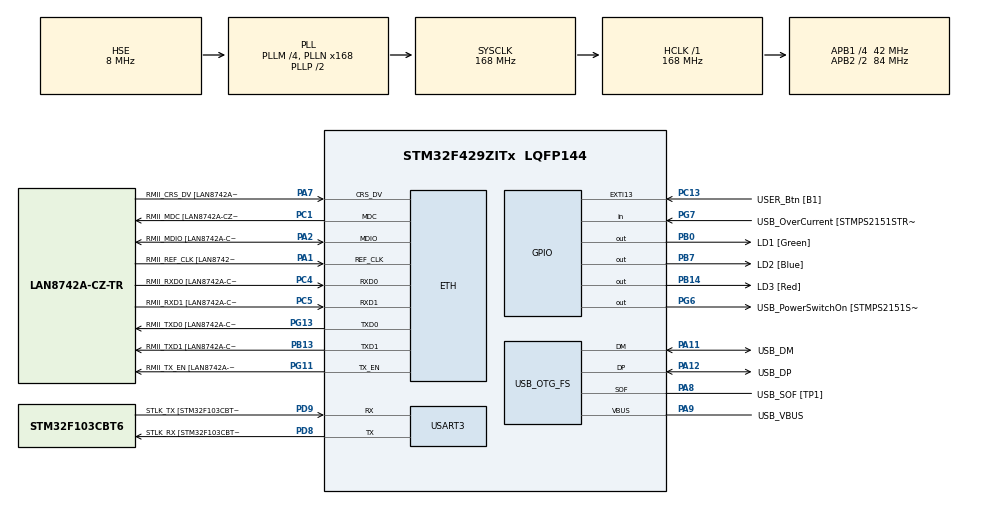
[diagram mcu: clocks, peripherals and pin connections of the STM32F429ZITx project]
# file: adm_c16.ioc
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ETH.MediaInterface=HAL_ETH_RMII_MODE
ETH.PHY_Name=LAN8742A_PHY_ADDRESS
ETH.PHY_Value=0
ETH.PhyAddress=0
Mcu.Family=STM32F4
Mcu.Name=STM32F429ZITx
Mcu.Package=LQFP144
NVIC.PriorityGroup=NVIC_PRIORITYGROUP_4
PA1.GPIO_Label=RMII_REF_CLK [LAN8742A-CZ-TR_REFCLK0]
PA1.Mode=RMII
PA1.Signal=ETH_REF_CLK
PA10.GPIO_Label=USB_ID
PA10.Signal=USB_OTG_FS_ID
PA11.GPIO_Label=USB_DM
PA11.Mode=Device_Only
PA11.Signal=USB_OTG_FS_DM
PA12.GPIO_Label=USB_DP
PA12.Mode=Device_Only
PA12.Signal=USB_OTG_FS_DP
PA13.GPIO_Label=TMS
PA13.Mode=Serial_Wire
PA13.Signal=SYS_JTMS-SWDIO
PA14.GPIO_Label=TCK
PA14.Mode=Serial_Wire
PA14.Signal=SYS_JTCK-SWCLK
PA2.GPIO_Label=RMII_MDIO [LAN8742A-CZ-TR_MDIO]
PA2.Mode=RMII
PA2.Signal=ETH_MDIO
PA7.GPIO_Label=RMII_CRS_DV [LAN8742A-CZ-TR_CRS_DV]
PA7.Mode=RMII
PA7.Signal=ETH_CRS_DV
PA8.GPIO_Label=USB_SOF [TP1]
PA8.Mode=Activate_SOF_FS
PA8.Signal=USB_OTG_FS_SOF
PA9.GPIO_Label=USB_VBUS
PA9.Mode=Activate_VBUS
PA9.Signal=USB_OTG_FS_VBUS
PB0.GPIO_Label=LD1 [Green]
PB0.PinState=GPIO_PIN_RESET
PB0.Signal=GPIO_Output
PB13.GPIO_Label=RMII_TXD1 [LAN8742A-CZ-TR_TXD1]
PB13.Mode=RMII
PB13.Signal=ETH_TXD1
PB14.GPIO_Label=LD3 [Red]
PB14.Signal=GPIO_Output
PB7.GPIO_Label=LD2 [Blue]
PB7.Signal=GPIO_Output
PC1.GPIO_Label=RMII_MDC [LAN8742A-CZ-TR_MDC]
PC1.Mode=RMII
PC1.Signal=ETH_MDC
PC13.GPIO_Label=USER_Btn [B1]
PC13.Signal=GPXTI13
PC14/OSC32_IN.Mode=LSE-External-Oscillator
PC14/OSC32_IN.Signal=RCC_OSC32_IN
PC15/OSC32_OUT.Mode=LSE-External-Oscillator
PC15/OSC32_OUT.Signal=RCC_OSC32_OUT
PC4.GPIO_Label=RMII_RXD0 [LAN8742A-CZ-TR_RXD0]
PC4.Mode=RMII
PC4.Signal=ETH_RXD0
PC5.GPIO_Label=RMII_RXD1 [LAN8742A-CZ-TR_RXD1]
PC5.Mode=RMII
PC5.Signal=ETH_RXD1
PD8.GPIO_Label=STLK_RX [STM32F103CBT6_PA3]
PD8.Mode=Asynchronous
PD8.Signal=USART3_TX
PD9.GPIO_Label=STLK_TX [STM32F103CBT6_PA2]
PD9.Mode=Asynchronous
PD9.Signal=USART3_RX
PG11.GPIO_Label=RMII_TX_EN [LAN8742A-CZ-TR_TXEN]
PG11.Mode=RMII
PG11.Signal=ETH_TX_EN
PG13.GPIO_Label=RMII_TXD0 [LAN8742A-CZ-TR_TXD0]
PG13.Mode=RMII
PG13.Signal=ETH_TXD0
PG6.GPIO_Label=USB_PowerSwitchOn [STMPS2151STR_EN]
PG6.Signal=GPIO_Output
PG7.GPIO_Label=USB_OverCurrent [STMPS2151STR_FAULT]
PG7.Signal=GPIO_Input
PH0/OSC_IN.GPIO_Label=MCO [STM32F103CBT6_PA8]
PH0/OSC_IN.Mode=HSE-External-Clock-Source
PH0/OSC_IN.Signal=RCC_OSC_IN
PH1/OSC_OUT.Mode=HSE-External-Clock-Source
PH1/OSC_OUT.Signal=RCC_OSC_OUT
ProjectManager.HeapSize=0x200
ProjectManager.StackSize=0x400
ProjectManager.TargetToolchain=STM32CubeIDE
RCC.48MHZClocksFreq_Value=48000000
RCC.AHBFreq_Value=168000000
RCC.APB1CLKDivider=RCC_HCLK_DIV4
RCC.APB1Freq_Value=42000000
RCC.APB1TimFreq_Value=84000000
RCC.APB2CLKDivider=RCC_HCLK_DIV2
RCC.APB2Freq_Value=84000000
RCC.APB2TimCLKDivider=2
RCC.APB2TimFreq_Value=168000000
RCC.CortexFreq_Value=168000000
RCC.HCLKFreq_Value=168000000
RCC.HSE_VALUE=8000000
RCC.HSI_VALUE=16000000
RCC.PLLM=4
RCC.PLLMUL=RCC_PLL_MUL9
RCC.PLLN=168
RCC.PLLQ=7
RCC.PRESCALERUSB=RCC_USBCLKSOURCE_PLL_DIV1_5
RCC.SYSCLKFreq_VALUE=168000000
RCC.SYSCLKSource=RCC_SYSCLKSOURCE_PLLCLK
RCC.SYSCLKSourceVirtual=RCC_SYSCLKSOURCE_PLLCLK
RCC.USBFreq_Value=48000000
RCC.VCOOutputFreq_Value=336000000
USART3.VirtualMode=VM_ASYNC
USB_OTG_FS.VirtualMode=Device_Only
board=NUCLEO-F429ZI

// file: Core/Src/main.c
/* USER CODE BEGIN Header */
/**
  ******************************************************************************
  * @file           : main.c
  * @brief          : Main program body
  ******************************************************************************
  * @attention
  *
  * Copyright (c) 2022 STMicroelectronics.
  * All rights reserved.
  *
  * This software is licensed under terms that can be found in the LICENSE file
  * in the root directory of this software component.
  * If no LICENSE file comes with this software, it is provided AS-IS.
  *
  ******************************************************************************
  */
/* USER CODE END Header */
#include "main.h"
#include "string.h"

/* USER CODE BEGIN Includes */
#include "asm_func.h"
#include "stdint.h"
/* USER CODE END Includes */

/* USER CODE BEGIN PD */
#define LIM_12BITS 4095
#define WINDOW_SIZE 11
#define HALF_WINDOW 5
#define MASK_16_MSB_BITS 0xFFFF0000

#define ECO_VECTOR_LENGTH 4096
#define ECO_SAMPLE_DELAY 882

/* USER CODE END PD */

ETH_TxPacketConfig TxConfig;
ETH_DMADescTypeDef  DMARxDscrTab[ETH_RX_DESC_CNT]; /* Ethernet Rx DMA Descriptors */
ETH_DMADescTypeDef  DMATxDscrTab[ETH_TX_DESC_CNT]; /* Ethernet Tx DMA Descriptors */

ETH_HandleTypeDef heth;

UART_HandleTypeDef huart3;

PCD_HandleTypeDef hpcd_USB_OTG_FS;

void SystemClock_Config(void);
static void MX_GPIO_Init(void);
static void MX_ETH_Init(void);
static void MX_USART3_UART_Init(void);
static void MX_USB_OTG_FS_PCD_Init(void);
/* USER CODE BEGIN PFP */

void zeros (uint32_t* vector, uint32_t longitud);
void productoEscalar32 (uint32_t * vectorIn, uint32_t * vectorOut, uint32_t longitud, uint32_t escalar);
void productoEscalar16 (uint16_t * vectorIn, uint16_t * vectorOut, uint32_t longitud, uint16_t escalar);
void productoEscalar12 (uint16_t * vectorIn, uint16_t * vectorOut, uint32_t longitud, uint16_t escalar);
void filtroVentana10(uint16_t * vectorIn, uint16_t * vectorOut, uint32_t longitudVectorIn);
void pack32to16 (int32_t * vectorIn, int16_t *vectorOut, uint32_t longitud);
int32_t max (int32_t * vectorIn, uint32_t longitud);
void downsampleM (int32_t * vectorIn, int32_t * vectorOut, uint32_t longitud, uint32_t N);
void invertir (uint16_t * vector, uint32_t longitud);
void addEcoVector(int16_t* vector,uint16_t longitud, uint16_t sampleDelay);
void corr (int16_t *vectorX, int16_t * vectorY, int16_t* vectorCorr, uint32_t longitud);

/* USER CODE END PFP */

/* USER CODE BEGIN 0 */
static void PrivilegiosSVC (void)
{
    // Obtiene valor del registro de 32 bits del procesador llamado "control".
    // El registro guarda los siguientes estados:
    // bit 2: Uso de FPU en el contexto actual. Usado=1, no usado=0.
    // bit 1: Mapeo del stack pointer(sp). MSP=0, PSP=1.
    // bit 0: Modo de ejecucion en Thread. Privilegiado=0, No privilegiado=1.
    //        Recordar que este valor solo se usa en modo Thread. Las
    //        interrupciones siempre se ejecutan en modo Handler con total
    //        privilegio.
    uint32_t x = __get_CONTROL ();

    // Actividad de debug: Ver registro "control" y valor de variable "x".
    //__BKPT (0);

    x |= 1;
    // bit 0 a modo No privilegiado.
    __set_CONTROL (x);

    // En este punto se estaria ejecutando en modo No privilegiado.
    // Lectura del registro "control" para confirmar.
    x = __get_CONTROL ();

    // Actividad de debug: Ver registro "control" y valor de variable "x".
    //__BKPT (0);

    x &= ~1u;
    // Se intenta volver a modo Privilegiado (bit 0, valor 0).
    __set_CONTROL (x);

    // Confirma que esta operacion es ignorada por estar ejecutandose en modo
    // Thread no privilegiado.
    x = __get_CONTROL ();

    // Actividad de debug: Ver registro "control" y valor de variable "x".
    //__BKPT (0);

    // En este punto, ejecutando en modo Thread no privilegiado, la unica forma
    // de volver a modo privilegiado o de realizar cualquier cambio que requiera
    // modo privilegiado, es pidiendo ese servicio a un hipotetico sistema
    // opertivo de tiempo real.
    // Para esto se invoca por software a la interrupcion SVC (Supervisor Call)
    // utilizando la instruccion "svc".
    // No hay intrinsics para realizar esta tarea. Para utilizar la instruccion
    // es necesario implementar una funcion en assembler. Ver el archivo
    // asm_func.S.
    asm_svc ();

    // El sistema operativo (el handler de SVC) deberia haber devuelto el modo
    // de ejecucion de Thread a privilegiado (bit 0 en valor 0).
    x = __get_CONTROL ();

    // Fin del ejemplo de SVC
}
/* USER CODE END 0 */

int main(void)
{

  /* MCU Configuration--------------------------------------------------------*/

  /* Reset of all peripherals, Initializes the Flash interface and the Systick. */
  HAL_Init();

  /* USER CODE BEGIN Init */

  DWT->CTRL |= 1 << DWT_CTRL_CYCCNTENA_Pos;

  /* USER CODE END Init */

  /* Configure the system clock */
  SystemClock_Config();

  /* Initialize all configured peripherals */
  MX_GPIO_Init();
  MX_ETH_Init();
  MX_USART3_UART_Init();
  MX_USB_OTG_FS_PCD_Init();
  /* USER CODE BEGIN 2 */
  PrivilegiosSVC ();

  const uint32_t Resultado = asm_sum (5, 3);

  //Verificación de funciones en C

  uint32_t vectorZeros_C[5]={0xFF,0xFF,0xFF,0xFF,0xFF};
  zeros (vectorZeros_C,5);

  uint32_t vectorProdEsc32In_C[5]={0x1111,0x2222,0x4444,0x8888,0xFFFF};
  uint32_t vectorProdEsc32Out_C[5];
  productoEscalar32 (vectorProdEsc32In_C, vectorProdEsc32Out_C, 5, 0xF);

  uint16_t vectorProdEsc16In_C[5]={0x11,0x22,0x444,0x888,0xFFF};
  uint16_t vectorProdEsc16Out_C[5];
  productoEscalar16 (vectorProdEsc16In_C, vectorProdEsc16Out_C, 5, 0xF);

  uint16_t vectorProdEsc12In_C[5]={0x11,0x22,0x444,0x888,0xFFF};
  uint16_t vectorProdEsc12Out_C[5];
  productoEscalar12 (vectorProdEsc12In_C, vectorProdEsc12Out_C, 5, 0xF);

  uint16_t vectorVentanaIn_C[15]={
		  10,10,10,10,10,
		  10,10,10,10,10,
		  10,10,10,10,10
  };
  uint16_t vectorVentanaOut_C[15];
  filtroVentana10(vectorVentanaIn_C, vectorVentanaOut_C,15);

  int32_t vectorPack32In_C[5]={0x1111,0x22222,0x444444,0x8888888,0x800FFFFF};
  int16_t vectorPack32Out_C[5];
  pack32to16 (vectorPack32In_C,vectorPack32Out_C, 5);

  int32_t vectorMax_C[5]={1,10,-20,-5,5};
  int32_t maxValueIndex_C = max (vectorMax_C, 5);

  int32_t vectorDownSampleIn_C[30]={
		  0,1,2,3,4,5,6,7,8,9,
		  10,11,12,13,14,15,16,17,18,19,
		  20,21,22,23,24,25,26,27,28,29
  };
  int32_t vectorDownSampleOut_C[24];
  downsampleM (vectorDownSampleIn_C, vectorDownSampleOut_C, 30, 5);

  uint16_t vectorInv_C[6]={0,10,20,30,40,50};
  invertir (vectorInv_C, 6);

  int16_t ecoVectorSamples_C[ECO_VECTOR_LENGTH];

  //La idea de asignar así el vector es para utilizar el rango negativo
  for(int i=-ECO_VECTOR_LENGTH/2 ; i< (ECO_VECTOR_LENGTH/2) ; i++){
	  ecoVectorSamples_C[ECO_VECTOR_LENGTH/2+i]=i;
  }

  DWT->CYCCNT = 0;
  addEcoVector(ecoVectorSamples_C,ECO_VECTOR_LENGTH,ECO_SAMPLE_DELAY);
  const volatile uint32_t CiclosEco_C = DWT->CYCCNT;

  int16_t vectorX_C[20] = {
		  0,2,4,6,8,
		  10,12,14,16,18,
		  20,22,24,26,28,
		  30,32,34,36,38
  };

  int16_t vectorY_C[20] = {
  		  0,2,4,6,8,
  		  10,12,14,16,18,
  		  20,22,24,26,28,
  		  30,32,34,36,38
    };

  int16_t vectorCorr_C[20];

  DWT->CYCCNT = 0;
  corr(vectorX_C,vectorY_C,vectorCorr_C,20);
  const volatile uint32_t CiclosCorr_C = DWT->CYCCNT;

  //Verificación de funciones en ASM

  uint32_t vectorZeros_ASM[5]={0xFF,0xFF,0xFF,0xFF,0xFF};
  asm_zeros(vectorZeros_ASM,5);

  uint32_t vectorProdEsc32In_ASM[5]={0x1111,0x2222,0x4444,0x8888,0xFFFF};
  uint32_t vectorProdEsc32Out_ASM[5];
  asm_productoEscalar32 (vectorProdEsc32In_ASM, vectorProdEsc32Out_ASM, 5, 0xF);

  uint16_t vectorProdEsc16In_ASM[5]={0x11,0x22,0x444,0x888,0xFFF};
  uint16_t vectorProdEsc16Out_ASM[5];
  asm_productoEscalar16 (vectorProdEsc16In_ASM, vectorProdEsc16Out_ASM, 5, 0xF);

  uint16_t vectorProdEsc12In_ASM[5]={0x11,0x22,0x444,0x888,0xFFF};
  uint16_t vectorProdEsc12Out_ASM[5];
  asm_productoEscalar12 (vectorProdEsc12In_ASM, vectorProdEsc12Out_ASM, 5, 0xF);

  uint16_t vectorVentanaIn_ASM[15]={
		  10,10,10,10,10,
		  10,10,10,10,10,
		  10,10,10,10,10
  };
  uint16_t vectorVentanaOut_ASM[15];
  asm_filtroVentana10(vectorVentanaIn_ASM, vectorVentanaOut_ASM,15);

  int32_t vectorPack32In_ASM[5]={0x1111,0x22222,0x444444,0x8888888,0x800FFFFF};
  int16_t vectorPack32Out_ASM[5];
  asm_pack32to16 (vectorPack32In_ASM,vectorPack32Out_ASM, 5);

  int32_t vectorMax_ASM[5]={1,10,-20,-5,5};
  int32_t maxValueIndex_ASM = asm_max (vectorMax_ASM, 5);

  int32_t vectorDownSampleIn_ASM[30]={
		  0,1,2,3,4,5,6,7,8,9,
		  10,11,12,13,14,15,16,17,18,19,
		  20,21,22,23,24,25,26,27,28,29
  };
  int32_t vectorDownSampleOut_ASM[24];
  asm_downsampleM (vectorDownSampleIn_ASM, vectorDownSampleOut_ASM, 30, 5);

  uint16_t vectorInv_ASM[6]={0,10,20,30,40,50};
  asm_invertir (vectorInv_ASM, 6);

  int16_t ecoVectorSamples_ASM[ECO_VECTOR_LENGTH];

  //La idea de asignar así el vector es para utilizar el rango negativo
  for(int i=-ECO_VECTOR_LENGTH/2 ; i< (ECO_VECTOR_LENGTH/2) ; i++){
	  ecoVectorSamples_ASM[ECO_VECTOR_LENGTH/2+i]=i;
  }

  DWT->CYCCNT = 0;
  asm_addEcoVector(ecoVectorSamples_ASM,ECO_VECTOR_LENGTH,ECO_SAMPLE_DELAY);
  const volatile uint32_t CiclosEco_ASM = DWT->CYCCNT;

  int16_t ecoVectorSamples_ASM_SIMD[ECO_VECTOR_LENGTH];

  for(int i=-ECO_VECTOR_LENGTH/2 ; i< (ECO_VECTOR_LENGTH/2) ; i++){
	  ecoVectorSamples_ASM_SIMD[ECO_VECTOR_LENGTH/2+i]=i;
  }

  DWT->CYCCNT = 0;
  asm_simd_addEcoVector(ecoVectorSamples_ASM_SIMD,ECO_VECTOR_LENGTH,ECO_SAMPLE_DELAY);
  const volatile uint32_t CiclosEco_ASM_SIMD = DWT->CYCCNT;

  int16_t vectorX_ASM[20] = {
		  0,2,4,6,8,
		  10,12,14,16,18,
		  20,22,24,26,28,
		  30,32,34,36,38
  };

  int16_t vectorY_ASM[20] = {
  		  0,2,4,6,8,
  		  10,12,14,16,18,
  		  20,22,24,26,28,
  		  30,32,34,36,38
    };

  int16_t vectorCorr_ASM[20];

  DWT->CYCCNT = 0;
  asm_corr(vectorX_ASM,vectorY_ASM,vectorCorr_ASM,20);
  const volatile uint32_t CiclosCorr_ASM = DWT->CYCCNT;

  int16_t vectorX_ASM_SIMD[20] = {
		  0,2,4,6,8,
		  10,12,14,16,18,
		  20,22,24,26,28,
		  30,32,34,36,38
  };

  int16_t vectorY_ASM_SIMD[20] = {
  		  0,2,4,6,8,
  		  10,12,14,16,18,
  		  20,22,24,26,28,
  		  30,32,34,36,38
    };

  int16_t vectorCorr_ASM_SIMD[20];

  DWT->CYCCNT = 0;
  asm_simd_corr(vectorX_ASM,vectorY_ASM,vectorCorr_ASM_SIMD,20);
  const volatile uint32_t CiclosCorr_ASM_SIMD = DWT->CYCCNT;

  /* USER CODE END 2 */

  /* Infinite loop */
  while (1)
  {

  }
}

void SystemClock_Config(void)
{
  RCC_OscInitTypeDef RCC_OscInitStruct = {0};
  RCC_ClkInitTypeDef RCC_ClkInitStruct = {0};

  /** Configure the main internal regulator output voltage
  */
  __HAL_RCC_PWR_CLK_ENABLE();
  __HAL_PWR_VOLTAGESCALING_CONFIG(PWR_REGULATOR_VOLTAGE_SCALE1);

  /** Initializes the RCC Oscillators according to the specified parameters
  * in the RCC_OscInitTypeDef structure.
  */
  RCC_OscInitStruct.OscillatorType = RCC_OSCILLATORTYPE_HSE;
  RCC_OscInitStruct.HSEState = RCC_HSE_BYPASS;
  RCC_OscInitStruct.PLL.PLLState = RCC_PLL_ON;
  RCC_OscInitStruct.PLL.PLLSource = RCC_PLLSOURCE_HSE;
  RCC_OscInitStruct.PLL.PLLM = 4;
  RCC_OscInitStruct.PLL.PLLN = 168;
  RCC_OscInitStruct.PLL.PLLP = RCC_PLLP_DIV2;
  RCC_OscInitStruct.PLL.PLLQ = 7;
  if (HAL_RCC_OscConfig(&RCC_OscInitStruct) != HAL_OK)
  {
    Error_Handler();
  }

  /** Initializes the CPU, AHB and APB buses clocks
  */
  RCC_ClkInitStruct.ClockType = RCC_CLOCKTYPE_HCLK|RCC_CLOCKTYPE_SYSCLK
                              |RCC_CLOCKTYPE_PCLK1|RCC_CLOCKTYPE_PCLK2;
  RCC_ClkInitStruct.SYSCLKSource = RCC_SYSCLKSOURCE_PLLCLK;
  RCC_ClkInitStruct.AHBCLKDivider = RCC_SYSCLK_DIV1;
  RCC_ClkInitStruct.APB1CLKDivider = RCC_HCLK_DIV4;
  RCC_ClkInitStruct.APB2CLKDivider = RCC_HCLK_DIV2;

  if (HAL_RCC_ClockConfig(&RCC_ClkInitStruct, FLASH_LATENCY_5) != HAL_OK)
  {
    Error_Handler();
  }
}

static void MX_ETH_Init(void)
{

   static uint8_t MACAddr[6];

  heth.Instance = ETH;
  MACAddr[0] = 0x00;
  MACAddr[1] = 0x80;
  MACAddr[2] = 0xE1;
  MACAddr[3] = 0x00;
  MACAddr[4] = 0x00;
  MACAddr[5] = 0x00;
  heth.Init.MACAddr = &MACAddr[0];
  heth.Init.MediaInterface = HAL_ETH_RMII_MODE;
  heth.Init.TxDesc = DMATxDscrTab;
  heth.Init.RxDesc = DMARxDscrTab;
  heth.Init.RxBuffLen = 1524;

  if (HAL_ETH_Init(&heth) != HAL_OK)
  {
    Error_Handler();
  }

  memset(&TxConfig, 0 , sizeof(ETH_TxPacketConfig));
  TxConfig.Attributes = ETH_TX_PACKETS_FEATURES_CSUM | ETH_TX_PACKETS_FEATURES_CRCPAD;
  TxConfig.ChecksumCtrl = ETH_CHECKSUM_IPHDR_PAYLOAD_INSERT_PHDR_CALC;
  TxConfig.CRCPadCtrl = ETH_CRC_PAD_INSERT;

}

static void MX_USART3_UART_Init(void)
{

  huart3.Instance = USART3;
  huart3.Init.BaudRate = 115200;
  huart3.Init.WordLength = UART_WORDLENGTH_8B;
  huart3.Init.StopBits = UART_STOPBITS_1;
  huart3.Init.Parity = UART_PARITY_NONE;
  huart3.Init.Mode = UART_MODE_TX_RX;
  huart3.Init.HwFlowCtl = UART_HWCONTROL_NONE;
  huart3.Init.OverSampling = UART_OVERSAMPLING_16;
  if (HAL_UART_Init(&huart3) != HAL_OK)
  {
    Error_Handler();
  }

}

static void MX_USB_OTG_FS_PCD_Init(void)
{

  hpcd_USB_OTG_FS.Instance = USB_OTG_FS;
  hpcd_USB_OTG_FS.Init.dev_endpoints = 4;
  hpcd_USB_OTG_FS.Init.speed = PCD_SPEED_FULL;
  hpcd_USB_OTG_FS.Init.dma_enable = DISABLE;
  hpcd_USB_OTG_FS.Init.phy_itface = PCD_PHY_EMBEDDED;
  hpcd_USB_OTG_FS.Init.Sof_enable = ENABLE;
  hpcd_USB_OTG_FS.Init.low_power_enable = DISABLE;
  hpcd_USB_OTG_FS.Init.lpm_enable = DISABLE;
  hpcd_USB_OTG_FS.Init.vbus_sensing_enable = ENABLE;
  hpcd_USB_OTG_FS.Init.use_dedicated_ep1 = DISABLE;
  if (HAL_PCD_Init(&hpcd_USB_OTG_FS) != HAL_OK)
  {
    Error_Handler();
  }

}

static void MX_GPIO_Init(void)
{
  GPIO_InitTypeDef GPIO_InitStruct = {0};

  /* GPIO Ports Clock Enable */
  __HAL_RCC_GPIOC_CLK_ENABLE();
  __HAL_RCC_GPIOH_CLK_ENABLE();
  __HAL_RCC_GPIOA_CLK_ENABLE();
  __HAL_RCC_GPIOB_CLK_ENABLE();
  __HAL_RCC_GPIOD_CLK_ENABLE();
  __HAL_RCC_GPIOG_CLK_ENABLE();

  /*Configure GPIO pin Output Level */
  HAL_GPIO_WritePin(GPIOB, LD1_Pin|LD3_Pin|LD2_Pin, GPIO_PIN_RESET);

  /*Configure GPIO pin Output Level */
  HAL_GPIO_WritePin(USB_PowerSwitchOn_GPIO_Port, USB_PowerSwitchOn_Pin, GPIO_PIN_RESET);

  /*Configure GPIO pin : USER_Btn_Pin */
  GPIO_InitStruct.Pin = USER_Btn_Pin;
  GPIO_InitStruct.Mode = GPIO_MODE_IT_RISING;
  GPIO_InitStruct.Pull = GPIO_NOPULL;
  HAL_GPIO_Init(USER_Btn_GPIO_Port, &GPIO_InitStruct);

  /*Configure GPIO pins : LD1_Pin LD3_Pin LD2_Pin */
  GPIO_InitStruct.Pin = LD1_Pin|LD3_Pin|LD2_Pin;
  GPIO_InitStruct.Mode = GPIO_MODE_OUTPUT_PP;
  GPIO_InitStruct.Pull = GPIO_NOPULL;
  GPIO_InitStruct.Speed = GPIO_SPEED_FREQ_LOW;
  HAL_GPIO_Init(GPIOB, &GPIO_InitStruct);

  /*Configure GPIO pin : USB_PowerSwitchOn_Pin */
  GPIO_InitStruct.Pin = USB_PowerSwitchOn_Pin;
  GPIO_InitStruct.Mode = GPIO_MODE_OUTPUT_PP;
  GPIO_InitStruct.Pull = GPIO_NOPULL;
  GPIO_InitStruct.Speed = GPIO_SPEED_FREQ_LOW;
  HAL_GPIO_Init(USB_PowerSwitchOn_GPIO_Port, &GPIO_InitStruct);

  /*Configure GPIO pin : USB_OverCurrent_Pin */
  GPIO_InitStruct.Pin = USB_OverCurrent_Pin;
  GPIO_InitStruct.Mode = GPIO_MODE_INPUT;
  GPIO_InitStruct.Pull = GPIO_NOPULL;
  HAL_GPIO_Init(USB_OverCurrent_GPIO_Port, &GPIO_InitStruct);

}

/* USER CODE BEGIN 4 */

void zeros (uint32_t* vector, uint32_t longitud){
	for(;longitud;longitud--){
		vector[longitud-1]=0;
	}
}

void productoEscalar32 (uint32_t * vectorIn, uint32_t * vectorOut, uint32_t longitud, uint32_t escalar){
	for(;longitud;longitud--){
		vectorOut[longitud-1]=escalar*vectorIn[longitud-1];
	}
}

void productoEscalar16 (uint16_t * vectorIn, uint16_t * vectorOut, uint32_t longitud, uint16_t escalar){
	for(;longitud;longitud--){
		vectorOut[longitud-1]=escalar*vectorIn[longitud-1];
	}
}

void productoEscalar12 (uint16_t * vectorIn, uint16_t * vectorOut, uint32_t longitud, uint16_t escalar){
	for(;longitud;longitud--){
		vectorOut[longitud-1] = escalar*vectorIn[longitud-1];

		if(vectorOut[longitud-1]>LIM_12BITS){
			vectorOut[longitud-1]=LIM_12BITS;
		}
	}
}

void filtroVentana10(uint16_t * vectorIn, uint16_t * vectorOut, uint32_t longitudVectorIn){
	for(int i=0;i<longitudVectorIn;i++){
		uint32_t temp=0;
		int windowStart=0;
		int windowEnd=i+HALF_WINDOW+1;

		if(i>HALF_WINDOW)
			windowStart = i-HALF_WINDOW;

		if(windowEnd>longitudVectorIn)
			windowEnd = longitudVectorIn;

		for(int j=windowStart;j<windowEnd;j++){
			temp+=vectorIn[j];
		}

		vectorOut[i]=(uint16_t) (temp/WINDOW_SIZE);

	}
}

void pack32to16 (int32_t * vectorIn, int16_t *vectorOut, uint32_t longitud){
	for(;longitud;longitud--){
		vectorOut[longitud-1]=(int16_t) ((vectorIn[longitud-1]&MASK_16_MSB_BITS)>>16); //usar shift con signo en asm
	}
}

int32_t max (int32_t * vectorIn, uint32_t longitud){

	int32_t maxValue = vectorIn[longitud-1];
	int32_t maxIndex = longitud-1;
	longitud--;

	for(;longitud;longitud--){

		if(vectorIn[longitud-1]>maxValue){
			maxValue = vectorIn[longitud-1];
			maxIndex = longitud-1;
		}
	}

	return maxIndex;
}

void downsampleM (int32_t * vectorIn, int32_t * vectorOut, uint32_t longitud, uint32_t N){

	int sampleCounter=0;
	int currentInSample=0;
	int currentOutSample=0;

	do{
		if(sampleCounter==N-1){
			sampleCounter=0;
			currentInSample++;	//saltea muestra de entrada actual
		}

		vectorOut[currentOutSample]=vectorIn[currentInSample];
		sampleCounter++;
		currentInSample++;
		currentOutSample++;

	}while(currentInSample<longitud);
}

void invertir (uint16_t * vector, uint32_t longitud){
	uint16_t temp=0;

	uint32_t flipTimes = longitud;

	flipTimes &= ~0x1;
	flipTimes = flipTimes>>1;		//Divido longitud en 2 para hacer un flip entre los valores del vector

	do{
		temp = vector[flipTimes-1];
		vector[flipTimes-1]=vector[longitud-flipTimes];
		vector[longitud-flipTimes] =temp;
		flipTimes--;

	}while(flipTimes);

}

void addEcoVector(int16_t* vector,uint16_t longitud, uint16_t sampleDelay){

	for(int i=sampleDelay ; i<longitud ;i++){
		vector[i] = vector[i-sampleDelay]/2 + vector[i];
	}
}

void corr (int16_t *vectorX, int16_t *vectorY, int16_t *vectorCorr, uint32_t longitud){

	int16_t acc=0;

	for(int l=0;l<longitud;l++){

		for(int n=l;n<longitud;n++){
			acc+=vectorX[n]*vectorY[n];
		}

		vectorCorr[l]=acc;
		acc=0;

	}
}
/* USER CODE END 4 */

void Error_Handler(void)
{
  __disable_irq();
  while (1)
  {
  }
}
